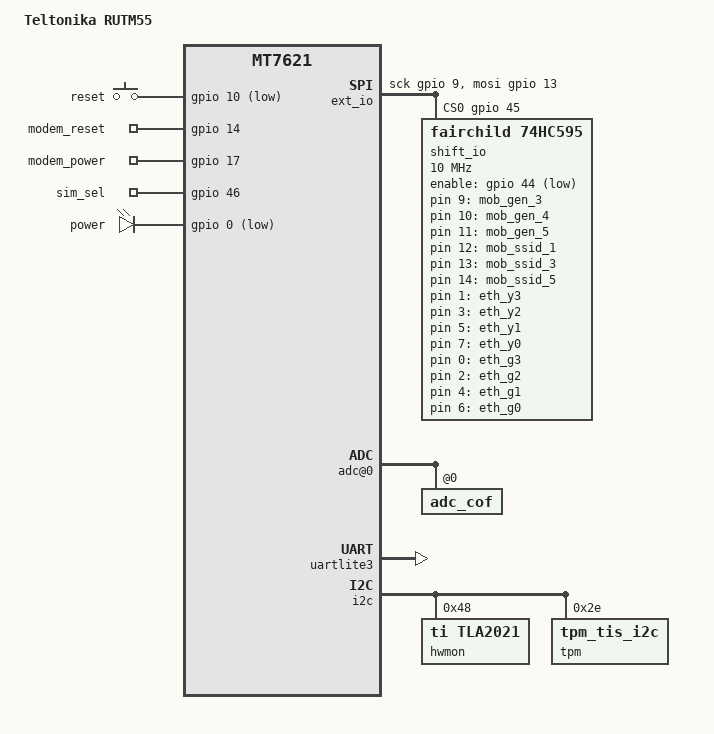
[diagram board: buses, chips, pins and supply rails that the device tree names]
#include "mt7621-teltonika-rutm-common.dtsi"

/ {
	compatible = "teltonika,rutm", "mediatek,mt7621-soc";
	model = "Teltonika RUTM55";

	ext_io {
		compatible = "spi-gpio";
		#address-cells = <1>;
		#size-cells = <0>;

		gpio-sck = <&gpio 9 GPIO_ACTIVE_HIGH>;	// 74HC595 SRCLK (Serial Clock)
		gpio-mosi = <&gpio 13 GPIO_ACTIVE_HIGH>;	// 74HC595 SER (Serial)
		cs-gpios = <&gpio 45 GPIO_ACTIVE_HIGH>;	// 74HC595 RCLK (Register Clock)
		num-chipselects = <1>;

		shift_io: shift_io@0 {
			compatible = "fairchild,74hc595";
			reg = <0>;
			gpio-controller;
			#gpio-cells = <2>;
			registers-number = <2>;
			spi-max-frequency = <10000000>;
			enable-gpios = <&gpio 44 GPIO_ACTIVE_LOW>;

		};
	};

	keys {
		compatible = "gpio-keys";

		reset {
			label = "reset";
			gpios = <&gpio 10 GPIO_ACTIVE_LOW>;
			linux,code = <KEY_RESTART>;
		};
	};

	gpio-export {
		compatible = "gpio-export";
		#size-cells = <0>;

		gpio_modem_reset {
			gpio-export,name = "modem_reset";
			gpio-export,output = <0>;
			gpios = <&gpio 14 GPIO_ACTIVE_HIGH>;
		};

		gpio_modem_power {
			gpio-export,name = "modem_power";
			gpio-export,output = <1>; // tmp
			gpios = <&gpio 17 GPIO_ACTIVE_HIGH>;
		};

		gpio_sim_select {
			gpio-export,name = "sim_sel";
			gpio-export,output = <1>;
			gpios = <&gpio 46 GPIO_ACTIVE_HIGH>;
		};
	};

	leds {
		compatible = "gpio-leds";

		led_power {
			label = "power";
			gpios = <&gpio 0 GPIO_ACTIVE_LOW>;
			default-state = "on";
			retain-state-shutdown;
		};

		led_gen_3 {
			label = "mob_gen_3";
			gpios = <&shift_io 9 GPIO_ACTIVE_HIGH>;
		};

		led_gen_4 {
			label = "mob_gen_4";
			gpios = <&shift_io 10 GPIO_ACTIVE_HIGH>;
		};

		led_gen_5 {
			label = "mob_gen_5";
			gpios = <&shift_io 11 GPIO_ACTIVE_HIGH>;
		};

		led_ssid_1 {
			label = "mob_ssid_1";
			gpios = <&shift_io 12 GPIO_ACTIVE_HIGH>;
			linux,default-trigger = "timer"; // only
		};

		led_ssid_3 {
			label = "mob_ssid_3";
			gpios = <&shift_io 13 GPIO_ACTIVE_HIGH>;
			linux,default-trigger = "timer"; // only
		};

		led_ssid_5 {
			label = "mob_ssid_5";
			gpios = <&shift_io 14 GPIO_ACTIVE_HIGH>;
			linux,default-trigger = "timer"; //only
		};

		led_eth_y3 {
			label = "eth_y3";
			gpios = <&shift_io 1 GPIO_ACTIVE_HIGH>;
		};

		led_eth_y2 {
			label = "eth_y2";
			gpios = <&shift_io 3 GPIO_ACTIVE_HIGH>;
		};

		led_eth_y1 {
			label = "eth_y1";
			gpios = <&shift_io 5 GPIO_ACTIVE_HIGH>;
		};

		led_eth_y0 {
			label = "eth_y0";
			gpios = <&shift_io 7 GPIO_ACTIVE_HIGH>;
		};

		led_eth_g3 {
			label = "eth_g3";
			gpios = <&shift_io 0 GPIO_ACTIVE_HIGH>;
		};

		led_eth_g2 {
			label = "eth_g2";
			gpios = <&shift_io 2 GPIO_ACTIVE_HIGH>;
		};

		led_eth_g1 {
			label = "eth_g1";
			gpios = <&shift_io 4 GPIO_ACTIVE_HIGH>;
		};

		led_eth_g0 {
			label = "eth_g0";
			gpios = <&shift_io 6 GPIO_ACTIVE_HIGH>;
		};
	};

	tlt_gpios { // Modify according to wiki page "DTS syntax with Libgpiod changes"
		gpiochip_info {
			hw_0 {
				hwver = <0>;
				gpiochip_count = <4>;

				gpiochip_0 = <32>; // Built-in
				gpiochip_1 = <32>; // Built-in
				gpiochip_2 = <32>; // Built-in
				gpiochip_3 = <16>; // Shift Register
			};
		};

		ioman {
			GPIO_16 {
				line_name = "GPIO_IN_1";
				active_low;
			};
			GPIO_111 {
				line_name = "GPIO_OUT_1";
			};
			GPIO_18 {
				line_name = "GPIO_ISOLATED_INPUT";
				active_low;
			};
			GPIO_12 {
				line_name = "GPIO_RELAY_CLOSE_1";
			};
		};

		misc {
			GPIO_14 {
				line_name = "GPIO_MODEM_RESET_1";
			};
			GPIO_17 {
				line_name = "GPIO_MODEM_POWER_1";
			};
			GPIO_46 {
				line_name = "GPIO_SIM_SELECT";
			};
			GPIO_104 {
				line_name = "GPIO_RS485_RX_EN";
			};
		};
	};

	ioman {
		layout@0 {
			io@0 { // 16pin#1
				label = "din1";
				block_type = BLOCK_16PIN;
				block_pin = "1";
				web_str = "Digital Input";
				gpio_in = "GPIO_IN_1";
				io_param = "g2";
			};
			io@1 { // 16pin#2
				label = "iio";
				block_type = BLOCK_16PIN;
				block_pin = "2,10";
				gpio_in = "GPIO_ISOLATED_INPUT";
				io_param = "g3";
			};
			io@2 { // 16pin#3
				label = "dout1";
				block_type = BLOCK_16PIN;
				block_pin = "3,4,11";
				web_str = "Isolated Output";
				gpio_out = "GPIO_OUT_1";
				io_param = "g4";
			};
			relay@0 {
				label = "relay0";
				block_type = BLOCK_16PIN;
				block_pin = "5,13";
				gpio_close = "GPIO_RELAY_CLOSE_1";
				io_param = "g5";
			};
			adc@0 {
				label = "adc0";
				block_type = BLOCK_16PIN;
				block_pin = "12";
				tolerance = "0.05";
				path = "/sys/class/hwmon/hwmon0/in0_input";
				io_param = "g1";

				adc_cof@0 {
					divider = "128.160418482999"; //147.0 / 1147.0 * 1000.0
				};
			};
			acl@0 {
				label = "acl0";
				block_type = BLOCK_16PIN;
				block_pin = "12";
				tolerance = "0.00004";
				path = "/sys/class/hwmon/hwmon0/in0_input";
				io_param = "g0";

				adc_cof@0 {
					divider = "153792.502179599"; //147.0 / 1147.0 * 1000.0 * 1200.0
				};
			};
		};
	};
};

&state_default {
	gpio {
		groups = "wdt", "jtag", "sdhci", "uart2";
		function = "gpio";
	};
};

&switch0 {
	ports {
		port@0 {
			status = "okay";
			label = "lan1";
		};

		port@1 {
			status = "okay";
			label = "lan2";
		};

		port@2 {
			status = "okay";
			label = "lan3";
		};
	};
};

&mnfinfo {
	sim_cfg {
		default = "1111200_1112000_1121100";
		/*default = "1111020_1112020";*/
	};
};

&uartlite3 {
	status = "okay";
};

&i2c {
	status = "okay";

	hwmon@0x48 {
		compatible = "ti,tla2021";
		reg = <0x48>;
	};

	tpm: tpm@0x2e {
		compatible = "tpm_tis_i2c";
		reg = <0x2e>;
		status = "okay";
	};
};

